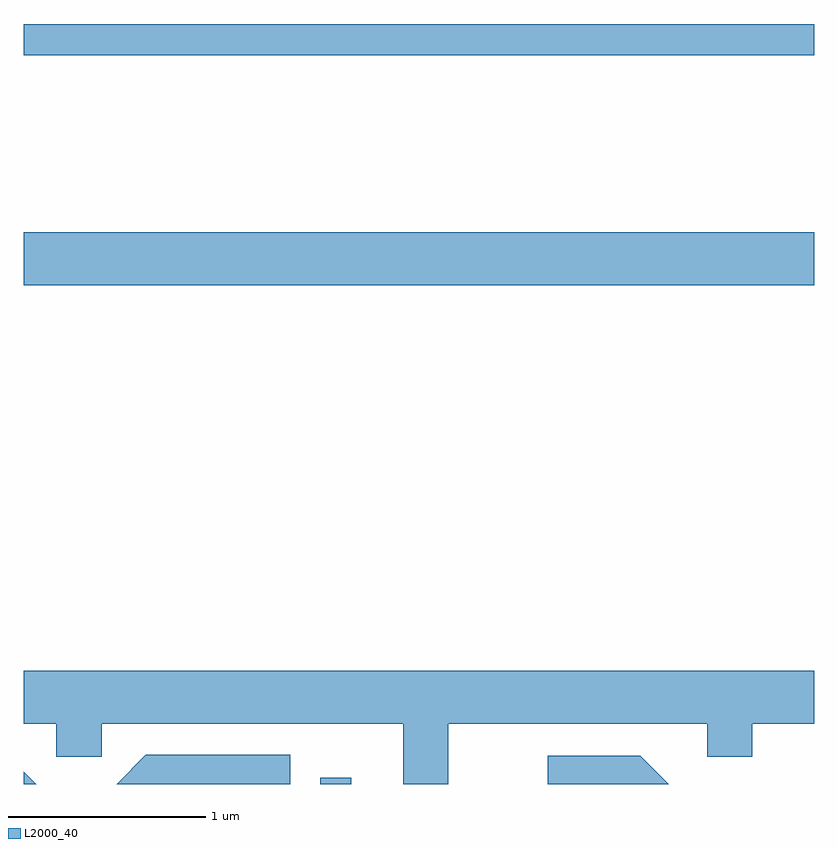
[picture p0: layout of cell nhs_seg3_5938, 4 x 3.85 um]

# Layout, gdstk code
import gdstk
lib = gdstk.Library(unit=1e-6, precision=1e-09)
def R(c, l, rs):  # rectangles x0, y0, x1, y1
    for r in rs: c.add(gdstk.rectangle(r[:2], r[2:], *l))
def P(c, l, *ps):  # polygons
    for p in ps: c.add(gdstk.Polygon(p, *l))
L2000_40 = (2000, 40)

nhs_seg3_5938 = lib.new_cell('nhs_seg3_5938')
R(nhs_seg3_5938, L2000_40, [(361.111,1167.892,361.269,1167.923), (359.611,1170.416,363.611,1170.684), (359.611,1171.581,363.611,1171.739)])
P(nhs_seg3_5938, L2000_40, [(361.759,1168.196),(363.071,1168.196),(363.071,1168.031),(363.299,1168.031),(363.299,1168.196),(363.611,1168.196),(363.611,1168.464),(359.611,1168.464),(359.611,1168.196),(359.776,1168.196),(359.776,1168.031),(360.004,1168.031),(360.004,1168.196),(361.531,1168.196),(361.531,1167.892),(361.759,1167.892)],
  [(360.959,1168.039),(360.229,1168.039),(360.082,1167.892),(360.959,1167.892)],
  [(362.732,1168.034),(362.263,1168.034),(362.263,1167.892),(362.874,1167.892)],
  [(359.611,1167.955),(359.611,1167.892),(359.674,1167.892)])

lib.write_gds('nhs_seg3_5938.gds')
